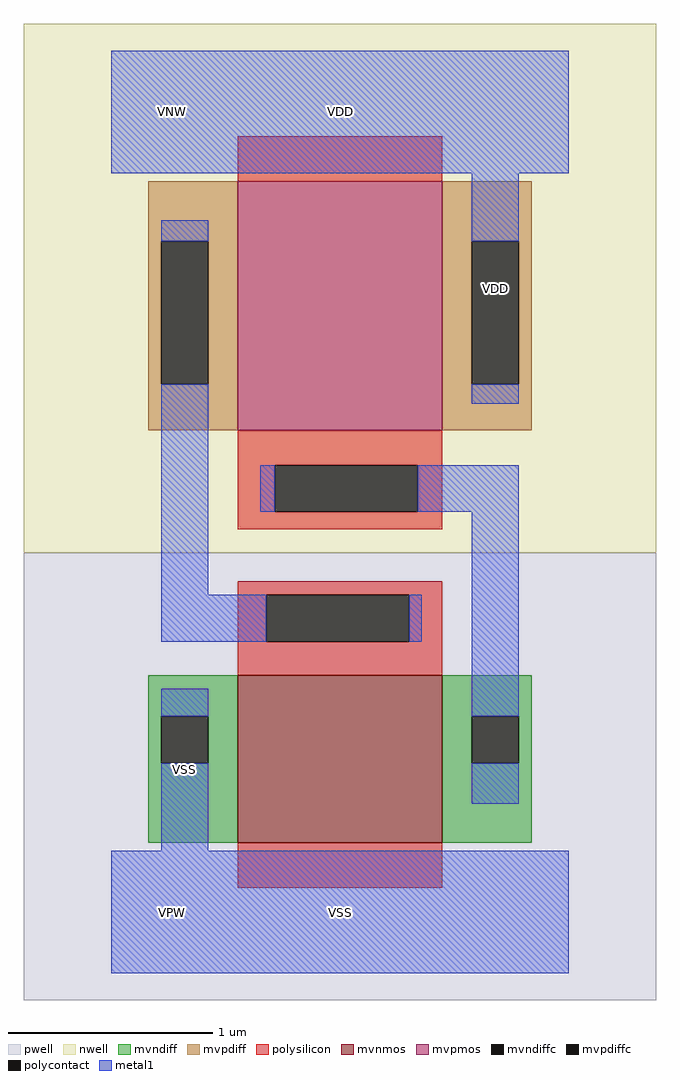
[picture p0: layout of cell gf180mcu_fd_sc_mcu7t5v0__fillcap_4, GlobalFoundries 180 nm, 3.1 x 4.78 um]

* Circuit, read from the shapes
.subckt gf180mcu_fd_sc_mcu7t5v0__fillcap_4 VDD VNW VPW VSS
XM1 n1 n2 VSS VPW nfet_06v0 w=0.82u l=1u
XM2 VDD n1 n2 VNW pfet_06v0 w=1.22u l=1u
.ends

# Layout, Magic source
magic
tech gf180mcuD
magscale 1 10
<< nwell >>
rect -86 352 534 870
<< pwell >>
rect -86 -86 534 352
<< mvnmos >>
rect 124 68 324 232
<< mvpmos >>
rect 124 472 324 716
<< mvndiff >>
rect 36 192 124 232
rect 36 146 49 192
rect 95 146 124 192
rect 36 68 124 146
rect 324 192 412 232
rect 324 146 353 192
rect 399 146 412 192
rect 324 68 412 146
<< mvpdiff >>
rect 36 657 124 716
rect 36 517 49 657
rect 95 517 124 657
rect 36 472 124 517
rect 324 657 412 716
rect 324 517 353 657
rect 399 517 412 657
rect 324 472 412 517
<< mvndiffc >>
rect 49 146 95 192
rect 353 146 399 192
<< mvpdiffc >>
rect 49 517 95 657
rect 353 517 399 657
<< polysilicon >>
rect 124 716 324 760
rect 124 438 324 472
rect 124 392 160 438
rect 300 392 324 438
rect 124 375 324 392
rect 124 311 324 324
rect 124 265 152 311
rect 292 265 324 311
rect 124 232 324 265
rect 124 24 324 68
<< polycontact >>
rect 160 392 300 438
rect 152 265 292 311
<< metal1 >>
rect 0 724 448 844
rect 49 657 95 678
rect 49 311 95 517
rect 353 657 399 724
rect 353 498 399 517
rect 146 392 160 438
rect 300 392 399 438
rect 49 265 152 311
rect 292 265 304 311
rect 49 192 95 219
rect 49 60 95 146
rect 353 192 399 392
rect 353 106 399 146
rect 0 -60 448 60
<< labels >>
flabel metal1 s 0 724 448 844 0 FreeSans 400 0 0 0 VDD
port 1 nsew power bidirectional abutment
flabel metal1 s 49 60 95 219 0 FreeSans 400 0 0 0 VSS
port 4 nsew ground bidirectional abutment
flabel nwell s 10 734 110 834 0 FreeSans 400 0 0 0 VNW
port 2 nsew power bidirectional
flabel pwell s 10 -50 110 50 0 FreeSans 400 0 0 0 VPW
port 3 nsew ground bidirectional
rlabel metal1 s 353 498 399 724 1 VDD
port 1 nsew power bidirectional abutment
rlabel metal1 s 0 -60 448 60 1 VSS
port 4 nsew ground bidirectional abutment
<< properties >>
string FIXED_BBOX 0 0 448 784
string GDS_END 1156942
string GDS_FILE $PDKPATH/libs.ref/gf180mcu_fd_sc_mcu7t5v0/gds/gf180mcu_fd_sc_mcu7t5v0.gds
string GDS_START 1154662
string LEFclass core SPACER
string LEFsite GF018hv5v_mcu_sc7
string LEFsymmetry X Y
<< end >>
